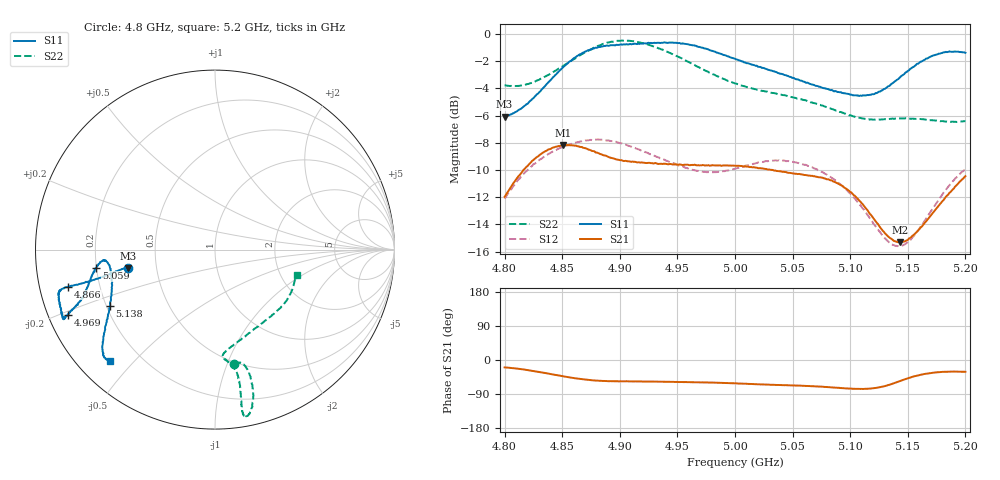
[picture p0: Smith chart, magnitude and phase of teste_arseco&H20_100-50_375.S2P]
! Network Analyzer HP8722D
! Hewlett-Packard
! Data name: Linha & Wilkinson
! Saver's name: Rodrigo Anjos
! Comments: Teste da utilização de aquisição
! continua pelo VNA HP8722D
! Time and date: 6/5/2025 15:41
!  Frequency  S11  S21  S12  S22
# HZ  S  MA R 50
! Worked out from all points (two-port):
!   401 points, 4.8 GHz to 5.2 GHz, reference 50 ohm
!   highest |S21| = -8.16 dB at 4.851 GHz (marker M1); lowest = -15.3 dB at 5.143 GHz (marker M2)
!   |S21| within 3 dB of the highest: 4.806 GHz to 5.093 GHz (286.6 MHz wide, 5.79 % of centre); 5.191905 GHz to end of sweep
!   lowest |S11| = -6.1 dB at 4.8 GHz (marker M3), VSWR 2.97, Z = 17 - j4.6 ohm
!   |S11| at or under -10 dB: nowhere
!   |S22| runs from -6.5 to -0.5 dB; largest |S21 - S12| = 0.62
!   S11 on the Smith chart (normalised r, x): 4.8 GHz: 0.34, -0.09; 4.866 GHz: 0.09, -0.12; 4.969 GHz: 0.06, -0.21; 5.059 GHz: 0.20, -0.07; 5.138 GHz: 0.21, -0.24; 5.2 GHz: 0.09, -0.43
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4.8e9  0.4962 -168.1  0.2518 -19.5  0.2479 -140.7  0.6469 -80.3
4.823e9  0.5701 -167.4  0.3376 -27.9  0.3248 -143.5  0.6595 -75.9
4.851e9  0.7555 -165.8  0.3908 -43.2  0.3842 -149.1  0.7639 -74.5
4.866e9  0.8429 -165.8  0.384 -50.1  0.4029 -151.7  0.8366 -75.2
4.867e9  0.8481 -165.8  0.384 -50.7  0.4028 -151.9  0.8425 -75.3
4.884e9  0.8987 -164.8  0.3609 -55.2  0.4083 -154.8  0.9128 -77.1
4.9e9  0.9128 -162.4  0.3435 -56.2  0.3966 -156.4  0.9432 -79.1
4.934e9  0.9279 -156.4  0.3328 -57.3  0.3514 -155.5  0.8837 -80.4
4.969e9  0.8958 -156.0  0.3285 -58.8  0.3129 -147.2  0.7526 -79.7
5e9  0.8102 -158.9  0.3274 -61.7  0.3196 -137.2  0.6574 -81.1
5.032e9  0.7324 -164.5  0.3164 -65.4  0.3416 -134.1  0.6071 -85.3
5.059e9  0.6684 -171.3  0.3039 -68.1  0.3314 -136.0  0.5724 -84.3
5.067e9  0.6514 -173.0  0.3009 -69.1  0.3236 -136.6  0.5597 -82.7
5.085e9  0.6187 -174.3  0.2871 -72.5  0.2939 -138.2  0.5285 -75.8
5.103e9  0.5946 -171.5  0.2556 -76.1  0.2509 -138.5  0.4973 -65.3
5.116e9  0.5957 -165.4  0.2216 -75.9  0.2135 -135.4  0.486 -55.9
5.134e9  0.6436 -154.2  0.1785 -65.4  0.1708 -120.8  0.4866 -43.3
5.138e9  0.6652 -151.7  0.1734 -61.3  0.1673 -115.7  0.4872 -40.9
5.143e9  0.6903 -149.1  0.1712 -55.8  0.1661 -109.1  0.4892 -38.1
5.154e9  0.7534 -144.4  0.181 -44.4  0.1786 -95.1  0.488 -32.3
5.173e9  0.8353 -138.7  0.2231 -33.2  0.2324 -80.8  0.481 -24.2
5.2e9  0.8526 -133.5  0.2998 -31.2  0.3184 -76.8  0.4771 -17.5
